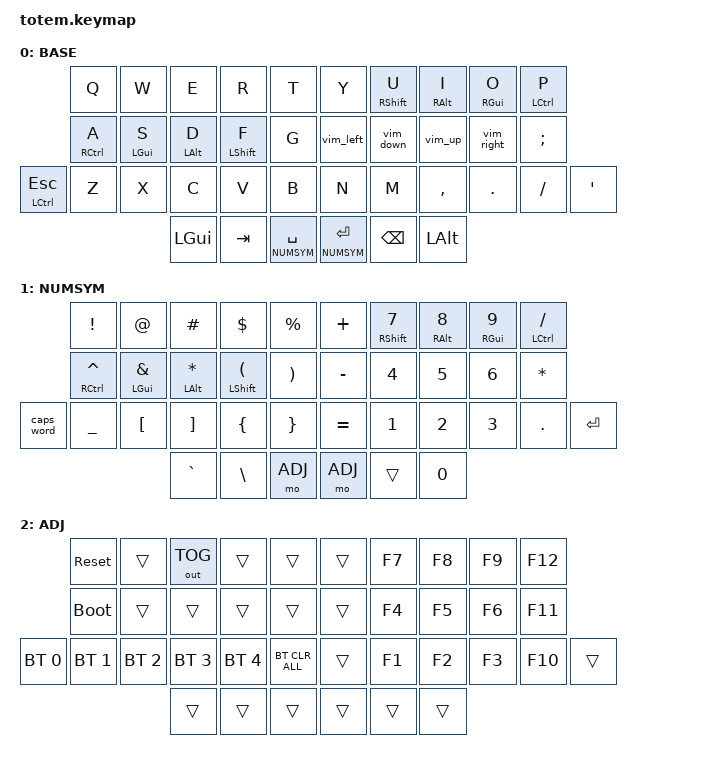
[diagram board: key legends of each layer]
//
//                                                        ▀▀▀▀▀     ▀▀▀▀▀          ▀▀█▀▀
//                                                        ▄▀▀▀▄  ▄  ▄▀▀▀▄  ▄  ▄▀▀▀▄  █  ▄▀▀▀▄
//                                                        █   █  █  █   █  █  █   █  █  █   █
//                                                         ▀▀▀   █   ▀▀▀   █   ▀▀▀   ▀   ▀▀▀
//                                                               █      ▄▄▄█▄▄▄    █   █  
//                                                               ▀      █  █  █     █▄█
//                                                             ▀▀▀▀▀    █  █  █      ▀
//                                                                      ▀  ▀  ▀
//
// ▄▄▄▄▄▄▄▄▄▄▄▄▄▄▄▄▄▄▄▄▄▄▄▄▄▄▄▄▄▄▄▄▄▄▄▄▄▄▄▄▄▄▄▄▄▄▄▄▄▄▄▄▄▄▄▄▄▄▄▄▄▄▄▄▄▄▄▄▄▄▄▄▄▄▄▄▄▄▄▄▄▄▄▄▄▄▄▄▄▄▄▄▄▄▄▄▄▄▄▄▄▄▄▄▄▄▄▄▄▄▄▄▄▄▄▄▄▄▄▄▄▄▄▄▄▄▄▄▄▄▄▄▄▄▄▄▄▄▄▄▄▄▄▄▄▄▄▄▄

#include <behaviors.dtsi>
#include <dt-bindings/zmk/bt.h>
#include <dt-bindings/zmk/keys.h>
#include <dt-bindings/zmk/outputs.h>
#include <dt-bindings/zmk/pointing.h>

#define BASE 0
#define NUMSYM 1
#define ADJ    2

&mt {
    quick-tap-ms = <100>;
    global-quick-tap;
    flavor = "tap-preferred";
    tapping-term-ms = <130>;
};

/ {
    behaviors {
        vim_left: vim_left {
            compatible = "zmk,behavior-mod-morph";
            #binding-cells = <0>;
            bindings = <&kp H>, <&kp LEFT>;
            mods = <(MOD_RCTL)>;
        };

        vim_down: vim_down {
            compatible = "zmk,behavior-mod-morph";
            #binding-cells = <0>;
            bindings = <&kp J>, <&kp DOWN>;
            mods = <(MOD_RCTL)>;
        };

        vim_up: vim_up {
            compatible = "zmk,behavior-mod-morph";
            #binding-cells = <0>;
            bindings = <&kp K>, <&kp UP>;
            mods = <(MOD_RCTL)>;
        };

        vim_right: vim_right {
            compatible = "zmk,behavior-mod-morph";
            #binding-cells = <0>;
            bindings = <&kp L>, <&kp RIGHT>;
            mods = <(MOD_RCTL)>;
        };
    };

    combos {
        compatible = "zmk,combos";

        combo_esc {
            timeout-ms = <50>;
            key-positions = <0 1>;
            bindings = <&kp ESC>;
        };
    };

    keymap {
        compatible = "zmk,keymap";

        // ▄▄▄▄▄▄▄▄▄▄▄▄▄▄▄▄▄▄▄▄▄▄▄▄▄▄▄▄▄▄▄▄▄▄▄▄▄▄▄▄▄▄▄▄▄▄▄▄▄▄▄▄▄▄▄▄▄▄▄▄▄▄▄▄▄▄▄▄▄▄▄▄▄▄▄▄▄▄▄▄▄▄▄▄▄▄▄▄▄▄▄▄▄▄▄▄▄▄▄▄▄▄▄▄▄▄▄▄▄▄▄▄▄▄▄▄▄▄▄▄▄▄▄▄▄▄▄▄▄▄▄▄▄▄▄▄▄▄▄▄▄▄▄▄▄▄▄▄▄

        base_layer {
            // ┏━━━━━━━━━━━━━━━━━━━━━━━━━━━━━━━━━━━━━━━┓

                            label = "BASE";

            // ┗━━━━━━━━━━━━━━━━━━━━━━━━━━━━━━━━━━━━━━━┛
            //             ┏━━━━━━━━━━━┳━━━━━━━━━━━┳━━━━━━━━━━━┳━━━━━━━━━━━┳━━━━━━━━━━━┓   ┏━━━━━━━━━━━┳━━━━━━━━━━━┳━━━━━━━━━━━┳━━━━━━━━━━━┳━━━━━━━━━━━┓
            //             ┃     Q     ┃     W     ┃     E     ┃     R     ┃     T     ┃   ┃     Y     ┃  U/SHFT   ┃   I/ALT   ┃   O/GUI   ┃ P/LCTRL   ┃
            //             ┣━━━━━━━━━━━╋━━━━━━━━━━━╋━━━━━━━━━━━╋━━━━━━━━━━━╋━━━━━━━━━━━┫   ┣━━━━━━━━━━━╋━━━━━━━━━━━╋━━━━━━━━━━━╋━━━━━━━━━━━╋━━━━━━━━━━━┫
            //             ┃ A/RCTRL   ┃   S/GUI   ┃   D/ALT   ┃  F/SHFT   ┃     G     ┃   ┃     H     ┃     J     ┃     K     ┃     L     ┃     ;     ┃
            // ┏━━━━━━━━━━━╋━━━━━━━━━━━╋━━━━━━━━━━━╋━━━━━━━━━━━╋━━━━━━━━━━━╋━━━━━━━━━━━┫   ┣━━━━━━━━━━━╋━━━━━━━━━━━╋━━━━━━━━━━━╋━━━━━━━━━━━╋━━━━━━━━━━━╋━━━━━━━━━━━┓
            // ┃ ESC/CTRL  ┃     Z     ┃     X     ┃     C     ┃     V     ┃     B     ┃   ┃     N     ┃     M     ┃     ,     ┃     .     ┃     /     ┃     '     ┃
            // ┗━━━━━━━━━━━┻━━━━━━━━━━━┻━━━━━━━━━━━╋━━━━━━━━━━━╋━━━━━━━━━━━╋━━━━━━━━━━━┫   ┣━━━━━━━━━━━╋━━━━━━━━━━━╋━━━━━━━━━━━╋━━━━━━━━━━━┻━━━━━━━━━━━┻━━━━━━━━━━━┛
            //                                     ┃   SUPER   ┃    TAB    ┃    SPC    ┃   ┃   ENTER   ┃   BSPC    ┃    ALT    ┃
            //                                     ┗━━━━━━━━━━━┻━━━━━━━━━━━┻━━━━━━━━━━━┛   ┗━━━━━━━━━━━┻━━━━━━━━━━━┻━━━━━━━━━━━┛

            bindings = <
                  &kp Q       &kp W       &kp E         &kp R        &kp T             &kp Y           &mt RSHFT U  &mt RALT I     &mt RGUI O  &mt LCTRL P
                  &mt RCTRL A &mt LGUI S  &mt LALT D    &mt LSHFT F  &kp G             &vim_left       &vim_down    &vim_up        &vim_right  &kp SEMI
&mt LCTRL ESC     &kp Z       &kp X       &kp C         &kp V        &kp B             &kp N           &kp M        &kp COMMA      &kp DOT     &kp SLASH       &kp APOS
                                          &kp LEFT_GUI  &kp TAB      &lt NUMSYM SPACE  &lt NUMSYM RET  &kp BSPC     &kp LEFT_ALT
            >;
        };

        // ▄▄▄▄▄▄▄▄▄▄▄▄▄▄▄▄▄▄▄▄▄▄▄▄▄▄▄▄▄▄▄▄▄▄▄▄▄▄▄▄▄▄▄▄▄▄▄▄▄▄▄▄▄▄▄▄▄▄▄▄▄▄▄▄▄▄▄▄▄▄▄▄▄▄▄▄▄▄▄▄▄▄▄▄▄▄▄▄▄▄▄▄▄▄▄▄▄▄▄▄▄▄▄▄▄▄▄▄▄▄▄▄▄▄▄▄▄▄▄▄▄▄▄▄▄▄▄▄▄▄▄▄▄▄▄▄▄▄▄▄▄▄▄▄▄▄▄▄▄

        numsym_layer {
            // ┏━━━━━━━━━━━━━━━━━━━━━━━━━━━━━━━━━━━━━━━┓

                          label = "NUMSYM";

            // ┗━━━━━━━━━━━━━━━━━━━━━━━━━━━━━━━━━━━━━━━┛
            //             ┏━━━━━━━━━━━┳━━━━━━━━━━━┳━━━━━━━━━━━┳━━━━━━━━━━━┳━━━━━━━━━━━┓   ┏━━━━━━━━━━━┳━━━━━━━━━━━┳━━━━━━━━━━━┳━━━━━━━━━━━┳━━━━━━━━━━━┓
            //             ┃     !     ┃     @     ┃     #     ┃     $     ┃     %     ┃   ┃     +     ┃  7/SHFT   ┃   8/ALT   ┃   9/GUI   ┃  //CTRL   ┃
            //             ┣━━━━━━━━━━━╋━━━━━━━━━━━╋━━━━━━━━━━━╋━━━━━━━━━━━╋━━━━━━━━━━━┫   ┣━━━━━━━━━━━╋━━━━━━━━━━━╋━━━━━━━━━━━╋━━━━━━━━━━━╋━━━━━━━━━━━┫
            //             ┃  ^/CTRL   ┃   &/GUI   ┃   */ALT   ┃  (/SHFT   ┃     )     ┃   ┃     -     ┃     4     ┃     5     ┃     6     ┃     *     ┃
            // ┏━━━━━━━━━━━╋━━━━━━━━━━━╋━━━━━━━━━━━╋━━━━━━━━━━━╋━━━━━━━━━━━╋━━━━━━━━━━━┫   ┣━━━━━━━━━━━╋━━━━━━━━━━━╋━━━━━━━━━━━╋━━━━━━━━━━━╋━━━━━━━━━━━╋━━━━━━━━━━━┓
            // ┃ CAPS WORD ┃     _     ┃     [     ┃     ]     ┃     {     ┃     }     ┃   ┃     =     ┃     1     ┃     2     ┃     3     ┃     .     ┃   ENTER   ┃
            // ┗━━━━━━━━━━━┻━━━━━━━━━━━┻━━━━━━━━━━━╋━━━━━━━━━━━╋━━━━━━━━━━━╋━━━━━━━━━━━┫   ┣━━━━━━━━━━━╋━━━━━━━━━━━╋━━━━━━━━━━━╋━━━━━━━━━━━┻━━━━━━━━━━━┻━━━━━━━━━━━┛
            //                                     ┃     `     ┃     \     ┃    ADJ    ┃   ┃    ADJ    ┃           ┃     0     ┃
            //                                     ┗━━━━━━━━━━━┻━━━━━━━━━━━┻━━━━━━━━━━━┛   ┗━━━━━━━━━━━┻━━━━━━━━━━━┻━━━━━━━━━━━┛

            bindings = <
            &kp EXCL         &kp AT         &kp HASH           &kp DLLR        &kp PRCNT    &kp PLUS   &mt RSHFT N7  &mt RALT N8  &mt RGUI N9  &mt LCTRL SLASH
            &mt RCTRL CARET  &mt LGUI AMPS  &mt LALT ASTERISK  &mt LSHFT LPAR  &kp RPAR     &kp MINUS  &kp N4        &kp N5       &kp N6       &kp ASTERISK
&caps_word  &kp UNDER        &kp LBKT       &kp RBKT           &kp LBRC        &kp RBRC     &kp EQUAL  &kp N1        &kp N2       &kp N3       &kp DOT         &kp RET
                                            &kp GRAVE          &kp BSLH        &mo ADJ      &mo ADJ    &trans       &kp N0
            >;
        };

        // ▄▄▄▄▄▄▄▄▄▄▄▄▄▄▄▄▄▄▄▄▄▄▄▄▄▄▄▄▄▄▄▄▄▄▄▄▄▄▄▄▄▄▄▄▄▄▄▄▄▄▄▄▄▄▄▄▄▄▄▄▄▄▄▄▄▄▄▄▄▄▄▄▄▄▄▄▄▄▄▄▄▄▄▄▄▄▄▄▄▄▄▄▄▄▄▄▄▄▄▄▄▄▄▄▄▄▄▄▄▄▄▄▄▄▄▄▄▄▄▄▄▄▄▄▄▄▄▄▄▄▄▄▄▄▄▄▄▄▄▄▄▄▄▄▄▄▄▄▄

        adjust_layer {
            // ┏━━━━━━━━━━━━━━━━━━━━━━━━━━━━━━━━━━━━━━━┓

                            label = "ADJ";

            // ┗━━━━━━━━━━━━━━━━━━━━━━━━━━━━━━━━━━━━━━━┛
            //             ┏━━━━━━━━━━━┳━━━━━━━━━━━┳━━━━━━━━━━━┳━━━━━━━━━━━┳━━━━━━━━━━━┓   ┏━━━━━━━━━━━┳━━━━━━━━━━━┳━━━━━━━━━━━┳━━━━━━━━━━━┳━━━━━━━━━━━┓
            //             ┃   RESET   ┃ BT CLEAR  ┃  OUT TOG  ┃           ┃           ┃   ┃           ┃    F7     ┃    F8     ┃    F9     ┃    F12    ┃
            //             ┣━━━━━━━━━━━╋━━━━━━━━━━━╋━━━━━━━━━━━╋━━━━━━━━━━━╋━━━━━━━━━━━┫   ┣━━━━━━━━━━━╋━━━━━━━━━━━╋━━━━━━━━━━━╋━━━━━━━━━━━╋━━━━━━━━━━━┫
            //             ┃ BOOTLOAD  ┃           ┃           ┃           ┃           ┃   ┃           ┃    F4     ┃    F5     ┃    F6     ┃    F11    ┃
            // ┏━━━━━━━━━━━╋━━━━━━━━━━━╋━━━━━━━━━━━╋━━━━━━━━━━━╋━━━━━━━━━━━╋━━━━━━━━━━━┫   ┣━━━━━━━━━━━╋━━━━━━━━━━━╋━━━━━━━━━━━╋━━━━━━━━━━━╋━━━━━━━━━━━╋━━━━━━━━━━━┓
            // ┃  BT_SEL 0 ┃ BT_SEL 1  ┃ BT_SEL 2  ┃ BT_SEL 3  ┃ BT_SEL 4  ┃ BT_CLR_ALL┃   ┃           ┃    F1     ┃    F2     ┃    F3     ┃    F10    ┃           ┃
            // ┗━━━━━━━━━━━┻━━━━━━━━━━━┻━━━━━━━━━━━╋━━━━━━━━━━━╋━━━━━━━━━━━╋━━━━━━━━━━━┫   ┣━━━━━━━━━━━╋━━━━━━━━━━━╋━━━━━━━━━━━╋━━━━━━━━━━━┻━━━━━━━━━━━┻━━━━━━━━━━━┛
            //                                     ┃           ┃           ┃           ┃   ┃           ┃           ┃           ┃
            //                                     ┗━━━━━━━━━━━┻━━━━━━━━━━━┻━━━━━━━━━━━┛   ┗━━━━━━━━━━━┻━━━━━━━━━━━┻━━━━━━━━━━━┛

            bindings = <
              &sys_reset    &trans        &out OUT_TOG  &trans        &trans            &trans  &kp F7  &kp F8  &kp F9  &kp F12
              &bootloader   &trans        &trans        &trans        &trans            &trans  &kp F4  &kp F5  &kp F6  &kp F11
&bt BT_SEL 0  &bt BT_SEL 1  &bt BT_SEL 2  &bt BT_SEL 3  &bt BT_SEL 4  &bt BT_CLR_ALL    &trans  &kp F1  &kp F2  &kp F3  &kp F10  &trans
                                          &trans        &trans        &trans            &trans  &trans  &trans
            >;
        };

    };
};
